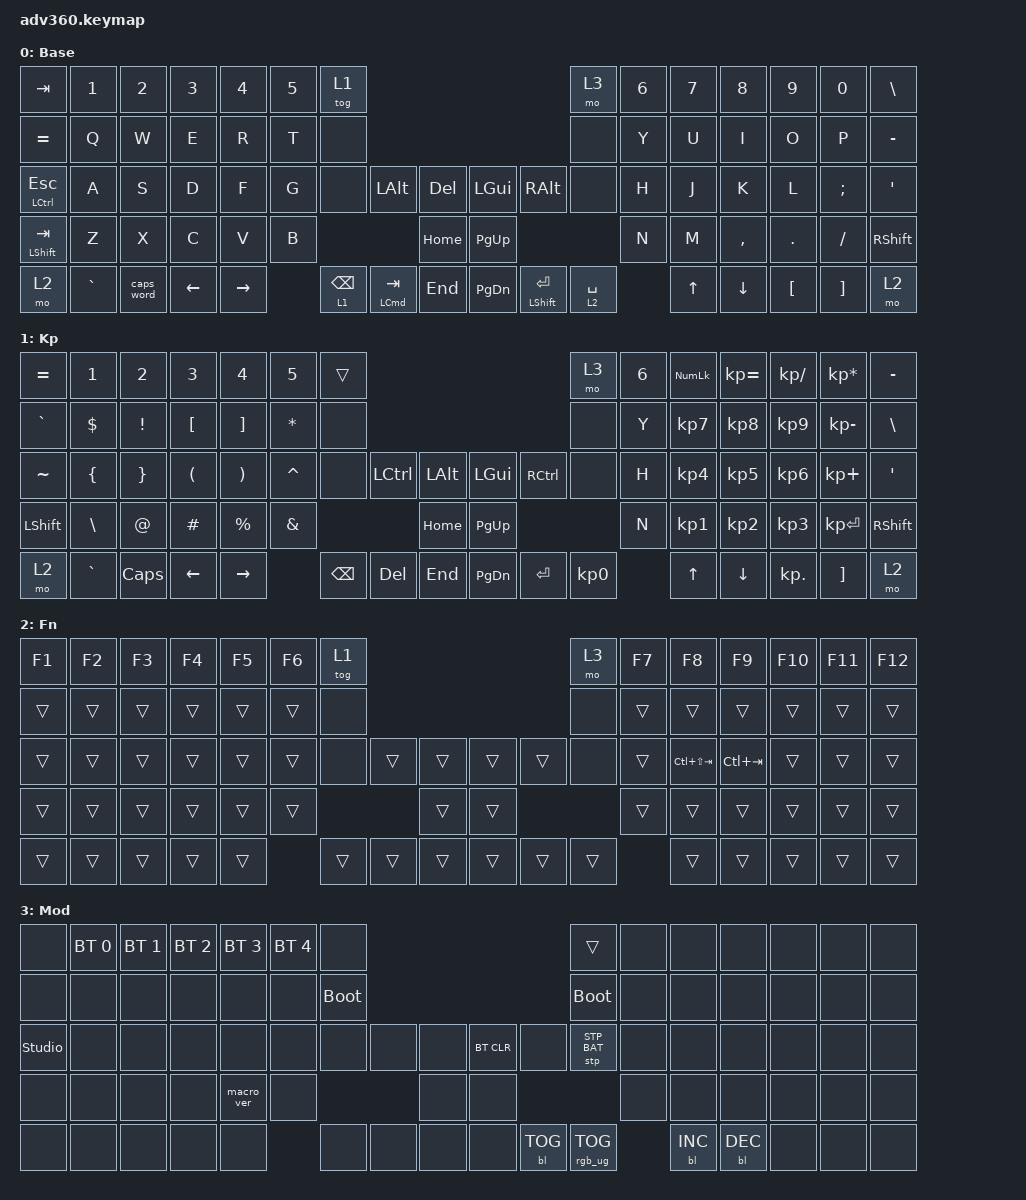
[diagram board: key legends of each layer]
#include <dt-bindings/zmk/stp.h>
#include <behaviors.dtsi>
#include <dt-bindings/zmk/backlight.h>
#include <dt-bindings/zmk/bt.h>
#include <dt-bindings/zmk/keys.h>
#include <dt-bindings/zmk/rgb.h>

/ {
    behaviors {
        #include "macros.dtsi"
      #include "version.dtsi"

        hm: homerow_mods {
            compatible = "zmk,behavior-hold-tap";
            label = "HOMEROW_MODS";
            #binding-cells = <2>;
            tapping-term-ms = <200>;
            quick_tap_ms = <175>;
            flavor = "tap-preferred";
            bindings = <&kp>, <&kp>;
        };
    };

    keymap {
        compatible = "zmk,keymap";

        default_layer {
            display-name = "Base";
            bindings = <
&kp TAB             &kp N1     &kp N2      &kp N3    &kp N4     &kp N5  &tog 1                                                                                &mo 3        &kp N6  &kp N7  &kp N8     &kp N9    &kp N0    &kp BACKSLASH
&kp EQUAL           &kp Q      &kp W       &kp E     &kp R      &kp T   &none                                                                                 &none        &kp Y   &kp U   &kp I      &kp O     &kp P     &kp MINUS
&mt LCTRL ESC       &kp A      &kp S       &kp D     &kp F      &kp G   &none            &kp LALT              &kp DEL       &kp LGUI   &kp RIGHT_ALT         &none        &kp H   &kp J   &kp K      &kp L     &kp SEMI  &kp SQT
&mt LEFT_SHIFT TAB  &kp Z      &kp X       &kp C     &kp V      &kp B                                          &kp HOME      &kp PG_UP                                     &kp N   &kp M   &kp COMMA  &kp DOT   &kp FSLH  &kp RSHFT
&mo 2               &kp GRAVE  &caps_word  &kp LEFT  &kp RIGHT          &lt 1 BACKSPACE  &mt LEFT_COMMAND TAB  &kp END       &kp PG_DN  &mt LEFT_SHIFT ENTER  &lt 2 SPACE          &kp UP  &kp DOWN   &kp LBKT  &kp RBKT  &mo 2
            >;
        };

        keypad {
            display-name = "Kp";
            bindings = <
&kp EQUAL  &kp N1          &kp N2           &kp N3                &kp N4                 &kp N5         &trans                                                   &mo 3      &kp N6  &kp KP_NUM  &kp KP_EQUAL  &kp KP_DIVIDE  &kp KP_MULTIPLY  &kp MINUS
&kp GRAVE  &kp DOLLAR      &kp EXCLAMATION  &kp LEFT_BRACKET      &kp RIGHT_BRACKET      &kp ASTERISK   &none                                                    &none      &kp Y   &kp KP_N7   &kp KP_N8     &kp KP_N9      &kp KP_MINUS     &kp BSLH
&kp TILDE  &kp LEFT_BRACE  &kp RIGHT_BRACE  &kp LEFT_PARENTHESIS  &kp RIGHT_PARENTHESIS  &kp CARET      &none     &kp LCTRL  &kp LALT      &kp LGUI   &kp RCTRL  &none      &kp H   &kp KP_N4   &kp KP_N5     &kp KP_N6      &kp KP_PLUS      &kp SQT
&kp LSHFT  &kp BACKSLASH   &kp AT_SIGN      &kp HASH              &kp PERCENT            &kp AMPERSAND                       &kp HOME      &kp PG_UP                        &kp N   &kp KP_N1   &kp KP_N2     &kp KP_N3      &kp KP_ENTER     &kp RSHFT
&mo 2      &kp GRAVE       &kp CAPS         &kp LEFT              &kp RIGHT                             &kp BSPC  &kp DEL    &kp END       &kp PG_DN  &kp ENTER  &kp KP_N0          &kp UP      &kp DOWN      &kp KP_DOT     &kp RBKT         &mo 2
            >;
        };

        fn {
            display-name = "Fn";
            bindings = <
&kp F1  &kp F2  &kp F3  &kp F4  &kp F5  &kp F6  &tog 1                                      &mo 3   &kp F7  &kp F8           &kp F9       &kp F10  &kp F11  &kp F12
&trans  &trans  &trans  &trans  &trans  &trans  &none                                       &none   &trans  &trans           &trans       &trans   &trans   &trans
&trans  &trans  &trans  &trans  &trans  &trans  &none   &trans  &trans      &trans  &trans  &none   &trans  &kp LC(LS(TAB))  &kp LC(TAB)  &trans   &trans   &trans
&trans  &trans  &trans  &trans  &trans  &trans                  &trans      &trans                  &trans  &trans           &trans       &trans   &trans   &trans
&trans  &trans  &trans  &trans  &trans          &trans  &trans  &trans      &trans  &trans  &trans          &trans           &trans       &trans   &trans   &trans
            >;
        };

        mod {
            display-name = "Mod";
            bindings = <
&none           &bt BT_SEL 0  &bt BT_SEL 1  &bt BT_SEL 2  &bt BT_SEL 3  &bt BT_SEL 4  &none                                                  &trans           &none  &none       &none       &none  &none  &none
&none           &none         &none         &none         &none         &none         &bootloader                                            &bootloader      &none  &none       &none       &none  &none  &none
&studio_unlock  &none         &none         &none         &none         &none         &none        &none  &none      &bt BT_CLR  &none       &stp STP_BAT     &none  &none       &none       &none  &none  &none
&none           &none         &none         &none         &macro_ver    &none                             &none      &none                                    &none  &none       &none       &none  &none  &none
&none           &none         &none         &none         &none                       &none        &none  &none      &none       &bl BL_TOG  &rgb_ug RGB_TOG         &bl BL_INC  &bl BL_DEC  &none  &none  &none
            >;
        };

        extra1 {
            display-name = "Red";
            status = "reserved";
        };

        extra2 {
            display-name = "Purple";
            status = "reserved";
        };

        extra3 {
            display-name = "Cyan";
            status = "reserved";
        };

        extra4 {
            display-name = "Yellow";
            status = "reserved";
        };
    };
};
